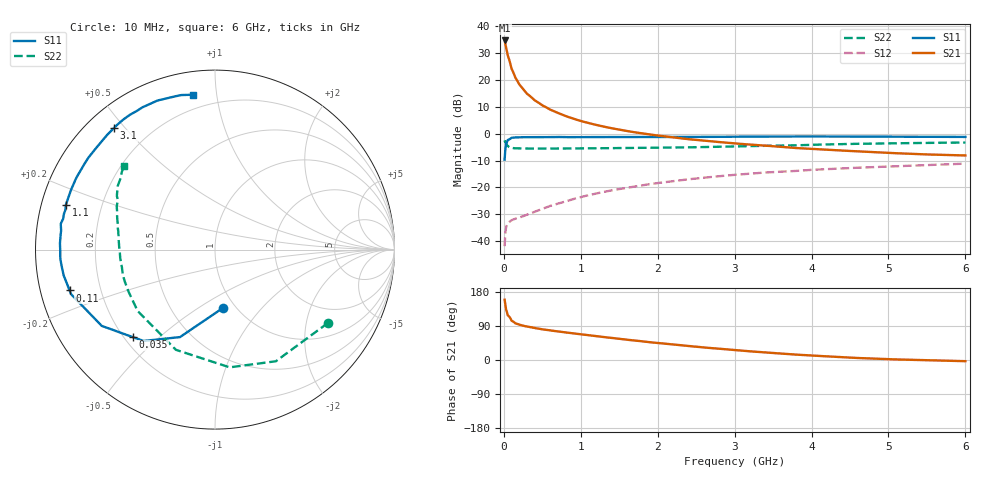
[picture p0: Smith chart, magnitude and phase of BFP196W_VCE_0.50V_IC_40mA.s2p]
! Infineon Technologies  Discrete & RF Semiconductors
! BFP196W
! VCE = 0.50V,  IC =  40mA
! Common Emitter S-Parameters:  Jan 2016
# GHz  S  MA  R  50
!  f  S11  S21  S12  S22
! GHz  MAG  ANG  MAG  ANG  MAG  ANG  MAG  ANG
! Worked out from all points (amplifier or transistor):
!   210 points, 10 MHz to 6 GHz, reference 50 ohm
!   highest |S21| = 34.7 dB at 10 MHz (marker M1)
!   |S21| within 3 dB of that: start of sweep to 32.96 MHz
!   unconditionally stable (mu >= 1): 475.5 MHz to end of sweep
!   at 185 MHz: K = 0.57, MSG = 25.3 dB, |S12| = -31.3 dB
!   at 1.52 GHz: K = 1.21, MAG = 8.2 dB, |S12| = -20.5 dB
!   at 6 GHz: K = 1.10, MAG = -0.4 dB, |S12| = -11.1 dB
!   S11 on the Smith chart (normalised r, x): 10 MHz: 0.87, -0.64; 35 MHz: 0.23, -0.41; 110 MHz: 0.09, -0.14; 1.1 GHz: 0.07, +0.15; 3.1 GHz: 0.08, +0.47; 6 GHz: 0.12, +0.86
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0.01  0.3291 -82.6  54.33 159.1  0.0081 68.7  0.7503 -33.0
0.02  0.5249 -111.8  47.36 143.9  0.0145 56.2  0.7085 -61.4
0.03  0.646 -128.0  40.27 132.6  0.0183 46.9  0.6611 -82.9
0.035  0.668 -133.0  37.26 129.9  0.0191 43.8  0.6317 -89.4
0.05  0.7607 -146.0  28.94 118.4  0.0217 36.0  0.5994 -111.3
0.1  0.8394 -162.8  16.23 103.8  0.0246 28.9  0.5502 -141.6
0.11  0.8414 -164.3  15.17 102.8  0.0249 29.0  0.5451 -144.1
0.15  0.8552 -170.3  11.02 96.8  0.0263 29.4  0.5357 -154.5
0.2  0.8598 -174.1  8.313 93.3  0.0275 32.5  0.5331 -161.0
0.24  0.8627 -176.3  7.026 90.9  0.029 35.0  0.5319 -164.3
0.3  0.8621 -178.7  5.563 88.3  0.0312 38.5  0.5281 -168.2
0.4  0.8645 177.7  4.199 84.3  0.0353 43.6  0.5288 -171.9
0.5  0.8644 175.1  3.38 81.0  0.04 47.6  0.5303 -174.6
0.6  0.8638 173.0  2.821 78.1  0.0453 50.7  0.5303 -176.7
0.8  0.8635 168.6  2.137 72.8  0.0554 54.6  0.5308 -179.5
1.02  0.8633 164.7  1.695 67.4  0.0675 56.3  0.5347 178.0
1.1  0.8677 163.2  1.586 65.3  0.0718 56.6  0.5352 177.2
2.02  0.8703 146.9  0.919 44.6  0.122 53.7  0.5487 169.2
3.1  0.8809 129.6  0.644 24.6  0.1763 44.0  0.5837 159.2
4.1  0.8892 115.8  0.514 10.7  0.2163 34.7  0.6274 150.5
5.1  0.8827 105.3  0.434 1.5  0.2486 26.3  0.6633 142.2
6  0.8716 98.2  0.394 -3.1  0.2778 19.9  0.6859 137.4
